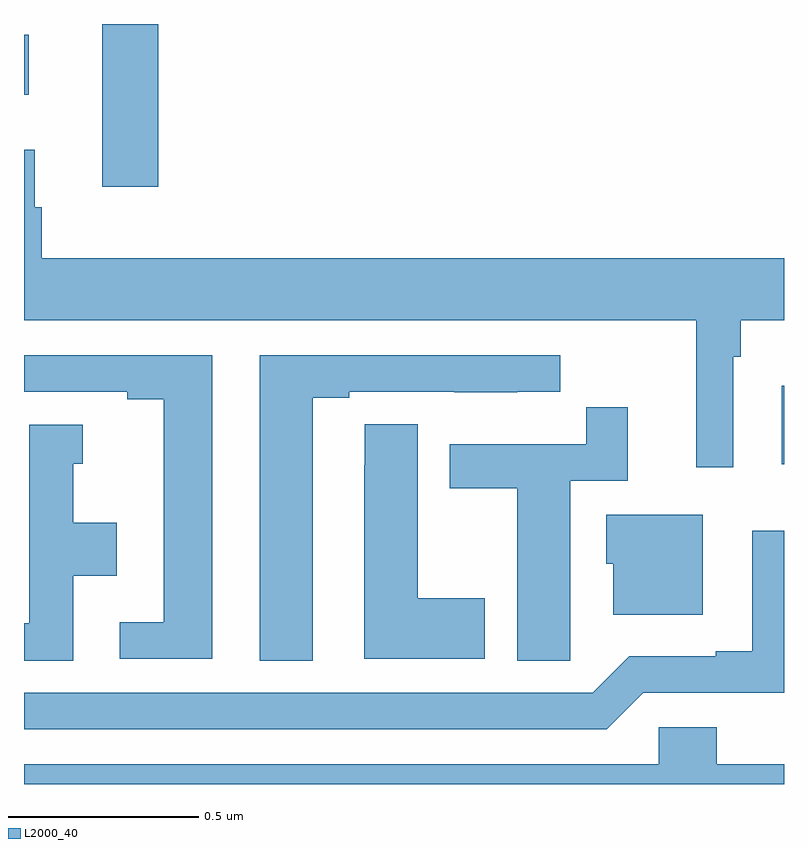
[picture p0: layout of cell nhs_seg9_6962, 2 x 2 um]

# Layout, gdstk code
import gdstk
lib = gdstk.Library(unit=1e-6, precision=1e-09)
def R(c, l, rs):  # rectangles x0, y0, x1, y1
    for r in rs: c.add(gdstk.rectangle(r[:2], r[2:], *l))
def P(c, l, *ps):  # polygons
    for p in ps: c.add(gdstk.Polygon(p, *l))
L2000_40 = (2000, 40)

nhs_seg9_6962 = lib.new_cell('nhs_seg9_6962')
R(nhs_seg9_6962, L2000_40, [(199.994,1229.342,200,1229.548), (198.206,1230.072,198.353,1230.5), (198,1230.314,198.013,1230.472)])
P(nhs_seg9_6962, L2000_40, [(199.866,1229.624),(199.886,1229.624),(199.886,1229.72),(200,1229.72),(200,1229.884),(198.047,1229.884),(198.047,1230.018),(198.028,1230.018),(198.028,1230.169),(198,1230.169),(198,1229.72),(199.769,1229.72),(199.769,1229.334),(199.866,1229.334)],
  [(198.496,1229.628),(198,1229.628),(198,1229.532),(198.272,1229.532),(198.272,1229.512),(198.368,1229.512),(198.368,1228.926),(198.252,1228.926),(198.252,1228.83),(198.496,1228.83)],
  [(198.76,1229.517),(198.856,1229.517),(198.856,1229.532),(199.132,1229.532),(199.132,1229.531),(199.298,1229.531),(199.298,1229.532),(199.411,1229.532),(199.411,1229.628),(198.62,1229.628),(198.62,1228.825),(198.76,1228.825)],
  [(199.437,1228.936),(199.438,1228.936),(199.438,1229.298),(199.589,1229.298),(199.589,1229.491),(199.48,1229.491),(199.48,1229.394),(199.121,1229.394),(199.121,1229.278),(199.298,1229.278),(199.298,1228.825),(199.437,1228.825)],
  [(199.213,1228.989),(199.036,1228.989),(199.036,1229.447),(198.897,1229.447),(198.897,1229.339),(198.896,1229.339),(198.896,1228.829),(199.213,1228.829)],
  [(198.13,1229.048),(198.244,1229.048),(198.244,1229.188),(198.13,1229.188),(198.13,1229.343),(198.154,1229.343),(198.154,1229.446),(198.014,1229.446),(198.014,1228.923),(198,1228.923),(198,1228.825),(198.13,1228.825)],
  [(199.786,1229.209),(199.532,1229.209),(199.532,1229.079),(199.55,1229.079),(199.55,1228.946),(199.786,1228.946)],
  [(199.629,1228.74),(200,1228.74),(200,1229.167),(199.916,1229.167),(199.916,1228.849),(199.82,1228.849),(199.82,1228.836),(199.593,1228.836),(199.497,1228.74),(198,1228.74),(198,1228.644),(199.533,1228.644)],
  [(200,1228.552),(199.823,1228.552),(199.823,1228.65),(199.671,1228.65),(199.671,1228.552),(198,1228.552),(198,1228.5),(200,1228.5)])

lib.write_gds('nhs_seg9_6962.gds')
